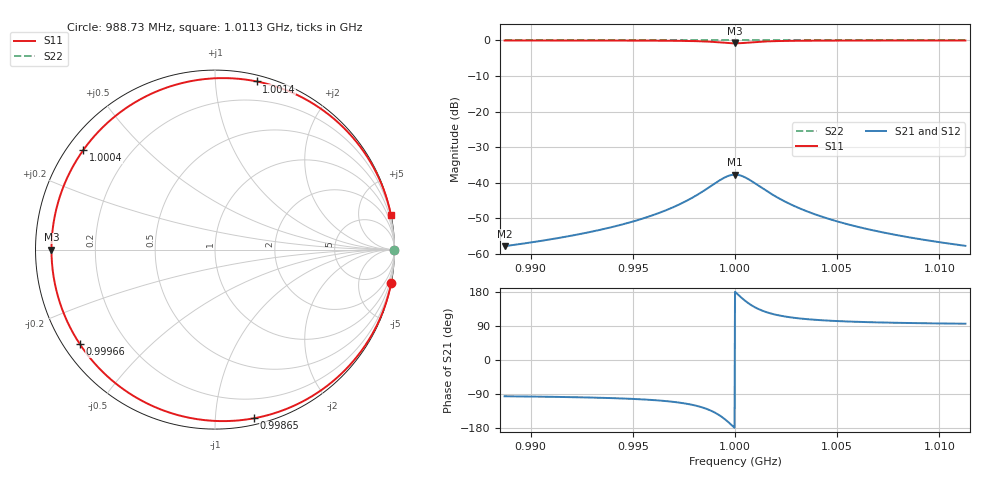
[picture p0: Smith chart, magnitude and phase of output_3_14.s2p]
! File generated for n1 = 3, n2 = 14
! b1 = 21.544347
! b2 = 0.001000
! Q0 = 10000.000000
! f0 = 1000000000.000000
! n = 1001
! rel_span = 10.000000
# Hz S RI R 50
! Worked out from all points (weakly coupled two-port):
!   1001 points, 988.73 MHz to 1.0113 GHz, reference 50 ohm
!   highest |S21| = -37.71 dB at 1 GHz (marker M1); lowest = -57.8 dB at 988.73 MHz (marker M2)
!   lowest |S11| = -0.8 dB at 1 GHz (marker M3), VSWR 21.52, Z = 2.32 + j0 ohm
!   |S11| at or under -10 dB: nowhere
!   |S22| runs from 0.0 to 0.0 dB; largest |S21 - S12| = 0
!   S11 on the Smith chart (normalised r, x): 988.73 MHz: 0, -11; 998.65 MHz: 0.05, -1.26; 999.66 MHz: 0.05, -0.31; 1.0004 GHz: 0.05, +0.33; 1.0014 GHz: 0.05, +1.28; 1.0113 GHz: 0, +10
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9.887273e8  0.9813 -0.1882  -0.000127 -0.00128  -0.000127 -0.00128  1 -8.73e-06
9.924924e8  0.9582 -0.2796  -0.000285 -0.00191  -0.000285 -0.00191  1 -1.3e-05
9.946342e8  0.9196 -0.3836  -0.000548 -0.00261  -0.000548 -0.00261  1 -1.78e-05
9.962575e8  0.8416 -0.527  -0.00108 -0.00359  -0.00108 -0.00359  1 -2.45e-05
9.977004e8  0.6304 -0.7548  -0.00252 -0.00514  -0.00252 -0.00514  1 -3.5e-05
9.982189e8  0.4541 -0.8633  -0.00372 -0.00588  -0.00372 -0.00588  1 -4.01e-05
9.986473e8  0.2173 -0.9398  -0.00533 -0.0064  -0.00533 -0.0064  1 -4.36e-05
9.992109e8  -0.2824 -0.898  -0.00874 -0.00612  -0.00874 -0.00612  0.9999 -4.17e-05
9.994364e8  -0.5288 -0.7646  -0.0104 -0.00521  -0.0104 -0.00521  0.9999 -3.55e-05
9.996618e8  -0.7533 -0.5261  -0.0119 -0.00358  -0.0119 -0.00358  0.9999 -2.44e-05
1e9  -0.9112 0  -0.013 0  -0.013 0  0.9999 0
1.00018e9  -0.8635 0.2981  -0.0127 0.00203  -0.0127 0.00203  0.9999 1.38e-05
1.000361e9  -0.7337 0.5547  -0.0118 0.00378  -0.0118 0.00378  0.9999 2.57e-05
1.000564e9  -0.5291 0.7644  -0.0104 0.00521  -0.0104 0.00521  0.9999 3.55e-05
1.000789e9  -0.283 0.8978  -0.00874 0.00612  -0.00874 0.00612  0.9999 4.17e-05
1.001037e9  -0.0356 0.9522  -0.00706 0.00649  -0.00706 0.00649  1 4.42e-05
1.001375e9  0.2313 0.9371  -0.00524 0.00638  -0.00524 0.00638  1 4.35e-05
1.001804e9  0.4625 0.8593  -0.00366 0.00585  -0.00366 0.00585  1 3.99e-05
1.002322e9  0.6348 0.7514  -0.00249 0.00512  -0.00249 0.00512  1 3.49e-05
1.003765e9  0.8422 0.526  -0.00107 0.00358  -0.00107 0.00358  1 2.44e-05
1.00753e9  0.9578 0.2808  -0.000288 0.00191  -0.000288 0.00191  1 1.3e-05
1.011273e9  0.9809 0.1903  -0.00013 0.0013  -0.00013 0.0013  1 8.83e-06
